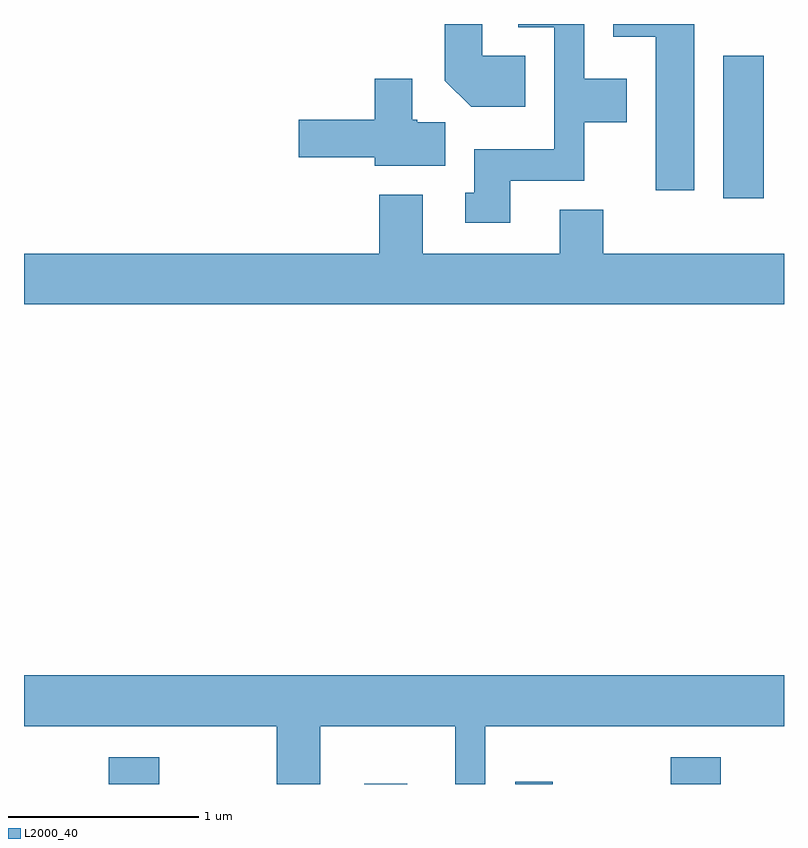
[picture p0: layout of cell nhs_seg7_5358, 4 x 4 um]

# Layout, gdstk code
import gdstk
lib = gdstk.Library(unit=1e-6, precision=1e-09)
def R(c, l, rs):  # rectangles x0, y0, x1, y1
    for r in rs: c.add(gdstk.rectangle(r[:2], r[2:], *l))
def P(c, l, *ps):  # polygons
    for p in ps: c.add(gdstk.Polygon(p, *l))
L2000_40 = (2000, 40)

nhs_seg7_5358 = lib.new_cell('nhs_seg7_5358')
R(nhs_seg7_5358, L2000_40, [(350.056,1696.252,350.324,1696.394), (351.401,1696.252,351.629,1696.254), (352.196,1696.252,352.394,1696.264), (353.016,1696.252,353.279,1696.394), (353.291,1699.336,353.504,1700.084)])
P(nhs_seg7_5358, L2000_40, [(353.139,1700.252),(352.711,1700.252),(352.711,1700.186),(352.936,1700.186),(352.936,1699.376),(353.139,1699.376)],
  [(352.169,1699.426),(352.559,1699.426),(352.559,1699.736),(352.784,1699.736),(352.784,1699.964),(352.559,1699.964),(352.559,1700.252),(352.213,1700.252),(352.213,1700.236),(352.401,1700.236),(352.401,1699.594),(351.981,1699.594),(351.981,1699.364),(351.933,1699.364),(351.933,1699.206),(352.169,1699.206)],
  [(352.249,1700.084),(352.024,1700.084),(352.024,1700.252),(351.826,1700.252),(351.826,1699.954),(351.964,1699.816),(352.249,1699.816)],
  [(351.829,1699.734),(351.68,1699.734),(351.68,1699.749),(351.654,1699.749),(351.654,1699.964),(351.456,1699.964),(351.456,1699.749),(351.056,1699.749),(351.056,1699.551),(351.456,1699.551),(351.456,1699.506),(351.829,1699.506)],
  [(353.611,1699.044),(352.659,1699.044),(352.659,1699.274),(352.431,1699.274),(352.431,1699.044),(351.709,1699.044),(351.709,1699.354),(351.481,1699.354),(351.481,1699.044),(349.611,1699.044),(349.611,1698.776),(353.611,1698.776)],
  [(351.169,1696.556),(351.881,1696.556),(351.881,1696.252),(352.039,1696.252),(352.039,1696.556),(353.611,1696.556),(353.611,1696.824),(349.611,1696.824),(349.611,1696.556),(350.941,1696.556),(350.941,1696.252),(351.169,1696.252)])

lib.write_gds('nhs_seg7_5358.gds')
